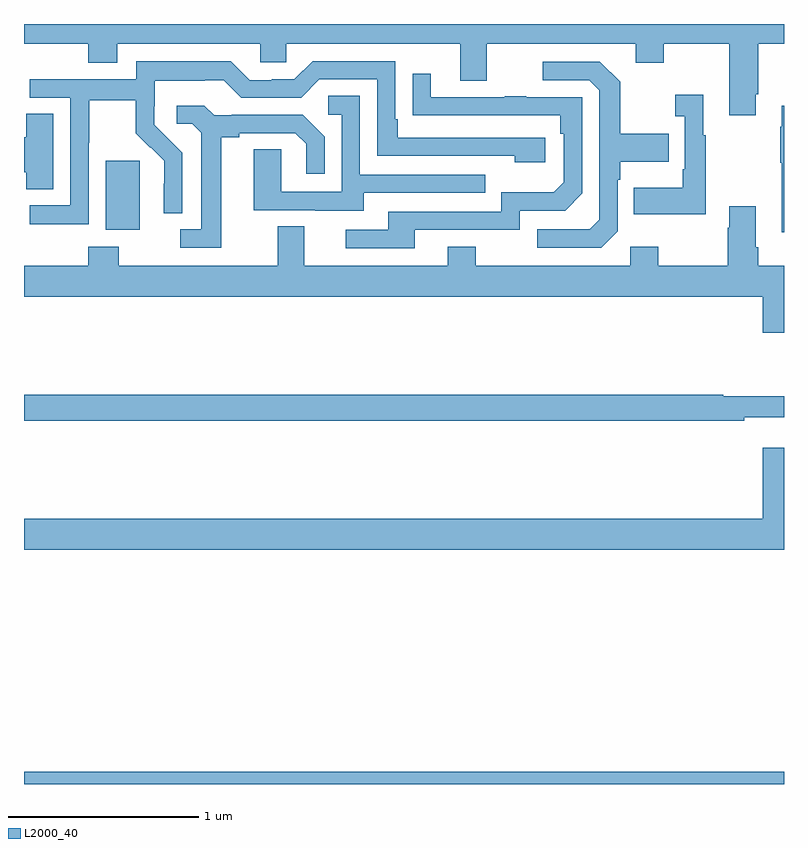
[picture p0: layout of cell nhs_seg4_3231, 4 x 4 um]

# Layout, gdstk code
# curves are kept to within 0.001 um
import gdstk
lib = gdstk.Library(unit=1e-6, precision=1e-09)
def R(c, l, rs):  # rectangles x0, y0, x1, y1
    for r in rs: c.add(gdstk.rectangle(r[:2], r[2:], *l))
def P(c, l, *ps):  # polygons
    for p in ps: c.add(gdstk.Polygon(p, *l))
L2000_40 = (2000, 40)

nhs_seg4_3231 = lib.new_cell('nhs_seg4_3231')
R(nhs_seg4_3231, L2000_40, [(281,816.9,285,816.964), (281.429,819.818,281.608,820.179)])
P(nhs_seg4_3231, L2000_40, [(284.851,820.531),(284.864,820.531),(284.864,820.796),(285,820.796),(285,820.9),(281,820.9),(281,820.796),(281.339,820.796),(281.339,820.697),(281.491,820.697),(281.491,820.796),(282.243,820.796),(282.243,820.698),(282.381,820.698),(282.381,820.796),(283.295,820.796),(283.295,820.602),(283.435,820.602),(283.435,820.796),(284.219,820.796),(284.219,820.697),(284.367,820.697),(284.367,820.796),(284.711,820.796),(284.711,820.419),(284.851,820.419)],
  [(281.34,820.276),(281.343,820.276),(281.343,820.5),(281.587,820.5),(281.587,820.325),(281.664,820.248),(281.667,820.251),(281.738,820.181),(281.738,820.058),(281.736,820.058),(281.736,819.904),(281.832,819.904),(281.832,820.222),(281.686,820.37),(281.686,820.467),(281.688,820.467),(281.688,820.601),(281.951,820.601),(281.951,820.605),(282.051,820.605),(282.144,820.512),(282.459,820.512),(282.555,820.608),(282.858,820.608),(282.858,820.206),(283.583,820.206),(283.583,820.172),(283.744,820.172),(283.744,820.302),(282.967,820.302),(282.967,820.399),(282.954,820.399),(282.954,820.704),(282.519,820.704),(282.423,820.608),(282.305,820.608),(282.305,820.605),(282.189,820.605),(282.089,820.705),(281.592,820.705),(281.592,820.608),(281.031,820.608),(281.031,820.512),(281.244,820.512),(281.244,819.945),(281.031,819.945),(281.031,819.847),(281.34,819.847)],
  [(284.124,819.81),(284.124,820.079),(284.137,820.079),(284.137,820.175),(284.393,820.175),(284.393,820.323),(284.137,820.323),(284.137,820.595),(284.031,820.701),(283.731,820.701),(283.731,820.605),(283.974,820.605),(284.028,820.551),(284.028,819.87),(283.977,819.819),(283.701,819.819),(283.701,819.723),(284.037,819.723)],
  [(283.057,819.816),(283.608,819.816),(283.608,819.918),(283.848,819.918),(283.938,820.008),(283.938,820.515),(283.643,820.515),(283.643,820.52),(283.531,820.52),(283.531,820.515),(283.141,820.515),(283.141,820.639),(283.045,820.639),(283.045,820.42),(283.822,820.419),(283.822,820.322),(283.842,820.322),(283.842,820.068),(283.789,820.015),(283.512,820.015),(283.512,819.912),(282.917,819.912),(282.917,819.816),(282.693,819.816),(282.693,819.72),(283.057,819.72)],
  [(284.587,820.315),(284.575,820.315),(284.575,820.528),(284.427,820.528),(284.427,820.415),(284.478,820.415),(284.478,820.135),(284.466,820.135),(284.466,820.039),(284.209,820.039),(284.209,819.899),(284.587,819.899)],
  [(282.787,820.011),(283.427,820.011),(283.427,820.107),(282.768,820.107),(282.768,820.523),(282.6,820.523),(282.6,820.422),(282.672,820.422),(282.672,820.017),(282.354,820.017),(282.354,820.241),(282.209,820.241),(282.209,819.921),(282.533,819.921),(282.533,819.917),(282.787,819.917)],
  [(285,820.471),(284.987,820.471),(284.987,820.358),(284.98,820.358),(284.98,820.169),(284.987,820.169),(284.987,819.804),(285,819.804)],
  [(282.037,820.304),(282.133,820.304),(282.133,820.326),(282.428,820.326),(282.485,820.269),(282.485,820.113),(282.582,820.113),(282.582,820.306),(282.466,820.422),(282.094,820.422),(282.094,820.419),(282,820.419),(281.948,820.471),(281.805,820.471),(281.805,820.374),(281.886,820.374),(281.933,820.327),(281.933,819.819),(281.823,819.819),(281.823,819.723),(282.037,819.723)],
  [(281.155,820.427),(281.012,820.427),(281.012,820.304),(281,820.304),(281,820.121),(281.012,820.121),(281.012,820.03),(281.155,820.03)],
  [(285,819.628),(284.864,819.628),(284.864,819.724),(284.851,819.724),(284.851,819.94),(284.711,819.94),(284.711,819.827),(284.704,819.827),(284.704,819.628),(284.337,819.628),(284.337,819.727),(284.19,819.727),(284.19,819.628),(283.377,819.628),(283.377,819.727),(283.229,819.727),(283.229,819.628),(282.475,819.628),(282.475,819.836),(282.335,819.836),(282.335,819.628),(281.499,819.628),(281.499,819.727),(281.339,819.727),(281.339,819.628),(281,819.628),(281,819.464),(284.888,819.464),(284.888,819.276),(285,819.276)],
  [(284.792,818.831),(285,818.831),(285,818.941),(284.68,818.941),(284.68,818.948),(281,818.948),(281,818.812),(284.792,818.812)],
  [(285,818.671),(284.888,818.671),(284.888,818.296),(281,818.296),(281,818.132),(285,818.132)])

lib.write_gds('nhs_seg4_3231.gds')
